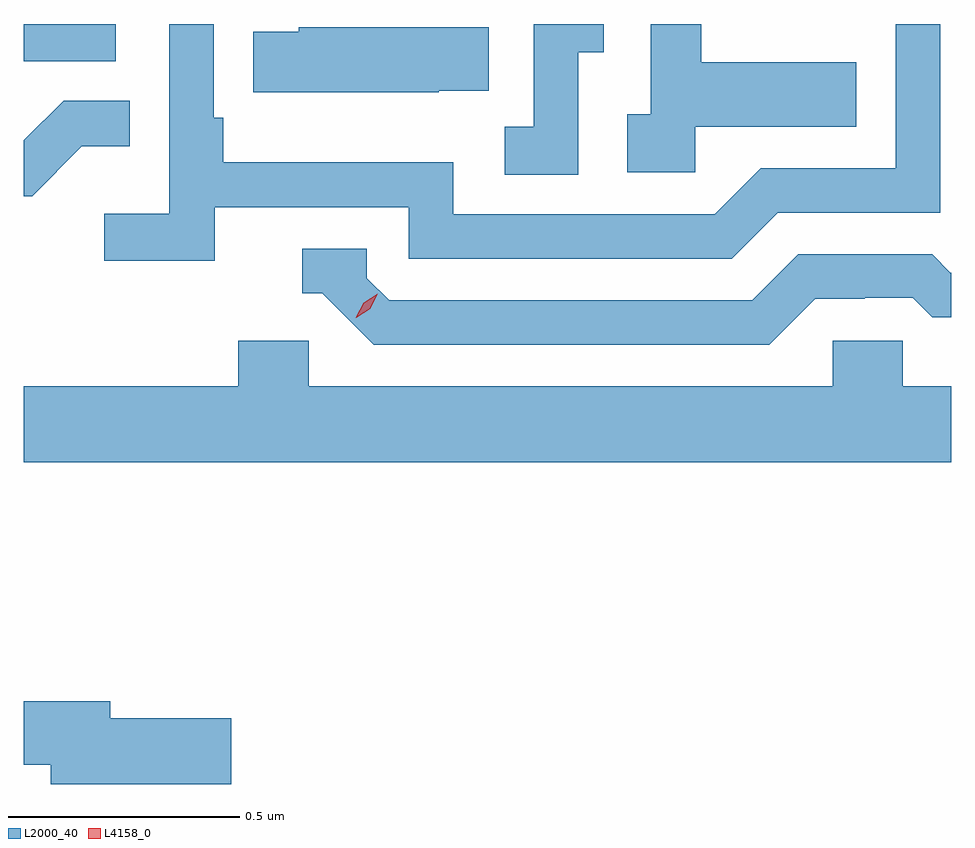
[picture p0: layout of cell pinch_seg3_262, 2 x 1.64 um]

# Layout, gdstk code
import gdstk
lib = gdstk.Library(unit=1e-6, precision=1e-09)
def R(c, l, rs):  # rectangles x0, y0, x1, y1
    for r in rs: c.add(gdstk.rectangle(r[:2], r[2:], *l))
def P(c, l, *ps):  # polygons
    for p in ps: c.add(gdstk.Polygon(p, *l))
L2000_40 = (2000, 40)
L4158_0 = (4158, 0)

pinch_seg3_262 = lib.new_cell('pinch_seg3_262')
R(pinch_seg3_262, L2000_40, [(926.746,723.093,926.944,723.173)])
P(pinch_seg3_262, L2000_40, [(927.158,722.778),(927.576,722.778),(927.576,722.667),(928.273,722.667),(928.372,722.766),(928.722,722.766),(928.722,723.173),(928.626,723.173),(928.626,722.862),(928.335,722.862),(928.236,722.763),(927.672,722.763),(927.672,722.875),(927.176,722.875),(927.176,722.971),(927.156,722.971),(927.156,723.173),(927.06,723.173),(927.06,722.764),(926.919,722.764),(926.919,722.662),(927.158,722.662)],
  [(928.194,722.951),(928.541,722.951),(928.541,723.091),(928.207,723.091),(928.207,723.173),(928.098,723.173),(928.098,722.978),(928.047,722.978),(928.047,722.853),(928.194,722.853)],
  [(927.942,723.112),(927.997,723.112),(927.997,723.173),(927.846,723.173),(927.846,722.951),(927.783,722.951),(927.783,722.848),(927.942,722.848)],
  [(927.641,723.029),(927.749,723.029),(927.749,723.166),(927.339,723.166),(927.339,723.156),(927.241,723.156),(927.241,723.026),(927.641,723.026)],
  [(926.871,722.909),(926.975,722.909),(926.975,723.008),(926.832,723.008),(926.746,722.922),(926.746,722.802),(926.764,722.802)],
  [(928.453,722.58),(928.56,722.58),(928.56,722.583),(928.663,722.583),(928.705,722.541),(928.746,722.541),(928.746,722.637),(928.744,722.637),(928.705,722.676),(928.416,722.676),(928.317,722.577),(927.534,722.577),(927.486,722.625),(927.486,722.688),(927.347,722.688),(927.347,722.592),(927.39,722.592),(927.501,722.481),(928.354,722.481)],
  [(927.209,722.49),(927.209,722.392),(926.746,722.392),(926.746,722.228),(928.746,722.228),(928.746,722.392),(928.641,722.392),(928.641,722.49),(928.491,722.49),(928.491,722.392),(927.36,722.392),(927.36,722.49)],
  [(927.193,721.676),(926.932,721.676),(926.932,721.712),(926.746,721.712),(926.746,721.576),(926.804,721.576),(926.804,721.534),(927.193,721.534)])
P(pinch_seg3_262, L4158_0, [(927.462,722.54),(927.462,722.54),(927.479,722.572),(927.509,722.591),(927.509,722.591),(927.509,722.591),(927.493,722.559),(927.463,722.54)])

lib.write_gds('pinch_seg3_262.gds')
